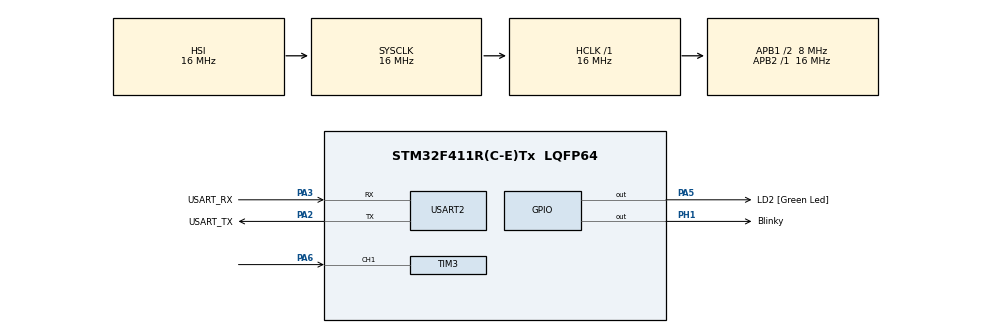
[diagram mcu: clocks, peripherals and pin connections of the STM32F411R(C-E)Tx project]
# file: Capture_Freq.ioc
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Mcu.Family=STM32F4
Mcu.Name=STM32F411R(C-E)Tx
Mcu.Package=LQFP64
NVIC.PriorityGroup=NVIC_PRIORITYGROUP_0
NVIC.TIM2_IRQn=true\:0\:0\:false\:false\:true\:true\:true\:true
NVIC.TIM3_IRQn=true\:0\:0\:false\:false\:true\:true\:true\:true
PA13.GPIO_Label=TMS
PA13.Mode=Serial_Wire
PA13.Signal=SYS_JTMS-SWDIO
PA14.GPIO_Label=TCK
PA14.Mode=Serial_Wire
PA14.Signal=SYS_JTCK-SWCLK
PA2.GPIO_Label=USART_TX
PA2.Mode=Asynchronous
PA2.Signal=USART2_TX
PA3.GPIO_Label=USART_RX
PA3.Mode=Asynchronous
PA3.Signal=USART2_RX
PA5.GPIO_Label=LD2 [Green Led]
PA5.Signal=GPIO_Output
PA6.Signal=S_TIM3_CH1
PB3.GPIO_Label=SWO
PB3.Signal=SYS_JTDO-SWO
PH1\ -\ OSC_OUT.GPIO_Label=Blinky
PH1\ -\ OSC_OUT.Signal=GPIO_Output
ProjectManager.HeapSize=0x200
ProjectManager.StackSize=0x400
ProjectManager.TargetToolchain=STM32CubeIDE
RCC.48MHZClocksFreq_Value=84000000
RCC.AHBFreq_Value=16000000
RCC.APB1CLKDivider=RCC_HCLK_DIV2
RCC.APB1Freq_Value=8000000
RCC.APB1TimFreq_Value=16000000
RCC.APB2Freq_Value=16000000
RCC.APB2TimFreq_Value=16000000
RCC.CortexFreq_Value=16000000
RCC.FLatency-AdvancedSettings=FLASH_LATENCY_0
RCC.HCLKFreq_Value=16000000
RCC.HSE_VALUE=8000000
RCC.HSI_VALUE=16000000
RCC.LSE_VALUE=32768
RCC.PLLN=336
RCC.PLLP=RCC_PLLP_DIV4
RCC.SYSCLKFreq_VALUE=16000000
RCC.VCOOutputFreq_Value=336000000
SH.S_TIM3_CH1.0=TIM3_CH1,Input_Capture1_from_TI1
TIM2.Period=250-1
TIM2.Prescaler=16000-1
TIM3.Channel-Input_Capture1_from_TI1=TIM_CHANNEL_1
TIM3.Period=65535
TIM3.Prescaler=0
USART2.VirtualMode=VM_ASYNC
VP_TIM2_VS_ClockSourceINT.Mode=Internal
VP_TIM3_VS_ClockSourceINT.Mode=Internal
board=NUCLEO-F411RE

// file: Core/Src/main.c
/* USER CODE BEGIN Header */
/**
  ******************************************************************************
  * @file           : main.c
  * @brief          : Main program body
  ******************************************************************************
  * @attention
  *
  * Copyright (c) 2025 STMicroelectronics.
  * All rights reserved.
  *
  * This software is licensed under terms that can be found in the LICENSE file
  * in the root directory of this software component.
  * If no LICENSE file comes with this software, it is provided AS-IS.
  *
  ******************************************************************************
  */
/* USER CODE END Header */
#include "main.h"
#include <stdio.h>
#include <string.h>

TIM_HandleTypeDef htim2;
TIM_HandleTypeDef htim3;

UART_HandleTypeDef huart2;

/* USER CODE BEGIN PV */
//Las variable tipo volatile son aquellas van a ser modificadas por una interrupción
volatile int32_t firstCapture = 0; 				// Variable para almacenar el primer valor capturado
volatile int32_t secondCapture = 0; 			// Variable para almacenar el segundo valor capturado
volatile int8_t flagCapture = 0; 				// Variable para indicar si se ha capturado un valor
volatile uint32_t elapsedTicks = 0;				// Variable para almacenar el tiempo transcurrido en ticks
volatile int32_t counterOverflow = 0;			// Variable para almacenar el tiempo transcurrido en milisegundos
volatile int8_t enableMsg = 0; 					// Variable para habilitar el envío de mensajes por UART
float frecuencia = 0; 							// Variable para almacenar la frecuencia calculada
uint8_t bufferMsg[64]; 							// Buffer para almacenar el mensaje a enviar por UART
/* USER CODE END PV */

void SystemClock_Config(void);
static void MX_GPIO_Init(void);
static void MX_USART2_UART_Init(void);
static void MX_TIM2_Init(void);
static void MX_TIM3_Init(void);

int main(void)
{

  /* MCU Configuration--------------------------------------------------------*/

  /* Reset of all peripherals, Initializes the Flash interface and the Systick. */
  HAL_Init();

  /* Configure the system clock */
  SystemClock_Config();

  /* Initialize all configured peripherals */
  MX_GPIO_Init();
  MX_USART2_UART_Init();
  MX_TIM2_Init();
  MX_TIM3_Init();
  /* USER CODE BEGIN 2 */
  HAL_TIM_Base_Start_IT(&htim2); 				// Iniciar el timer 2 en modo interrupción
  HAL_TIM_IC_Start_IT(&htim3, TIM_CHANNEL_1); 	// Iniciar el timer 3 en modo captura de entrada y en interrupción
  HAL_TIM_Base_Start_IT(&htim3); 					// Iniciar el timer 3 en modo base
  /* USER CODE END 2 */

  /* Infinite loop */
  while (1)
  {

    /* USER CODE BEGIN 3 */
	if(enableMsg == 4){
		frecuencia = (float) 16000000/ elapsedTicks; // Calcula la frecuencia en Hz
		sprintf((char *)bufferMsg, "Frecuencia: %.2f Hz\r\n", frecuencia); // Formatea el mensaje
		HAL_UART_Transmit(&huart2, bufferMsg, strlen((char *)bufferMsg), 1000); // Envía el mensaje por UART
		enableMsg = 0; // Reinicia el contador de mensajes
	}
  }
  /* USER CODE END 3 */
}

void SystemClock_Config(void)
{
  RCC_OscInitTypeDef RCC_OscInitStruct = {0};
  RCC_ClkInitTypeDef RCC_ClkInitStruct = {0};

  /** Configure the main internal regulator output voltage
  */
  __HAL_RCC_PWR_CLK_ENABLE();
  __HAL_PWR_VOLTAGESCALING_CONFIG(PWR_REGULATOR_VOLTAGE_SCALE1);

  /** Initializes the RCC Oscillators according to the specified parameters
  * in the RCC_OscInitTypeDef structure.
  */
  RCC_OscInitStruct.OscillatorType = RCC_OSCILLATORTYPE_HSI;
  RCC_OscInitStruct.HSIState = RCC_HSI_ON;
  RCC_OscInitStruct.HSICalibrationValue = RCC_HSICALIBRATION_DEFAULT;
  RCC_OscInitStruct.PLL.PLLState = RCC_PLL_NONE;
  if (HAL_RCC_OscConfig(&RCC_OscInitStruct) != HAL_OK)
  {
    Error_Handler();
  }

  /** Initializes the CPU, AHB and APB buses clocks
  */
  RCC_ClkInitStruct.ClockType = RCC_CLOCKTYPE_HCLK|RCC_CLOCKTYPE_SYSCLK
                              |RCC_CLOCKTYPE_PCLK1|RCC_CLOCKTYPE_PCLK2;
  RCC_ClkInitStruct.SYSCLKSource = RCC_SYSCLKSOURCE_HSI;
  RCC_ClkInitStruct.AHBCLKDivider = RCC_SYSCLK_DIV1;
  RCC_ClkInitStruct.APB1CLKDivider = RCC_HCLK_DIV2;
  RCC_ClkInitStruct.APB2CLKDivider = RCC_HCLK_DIV1;

  if (HAL_RCC_ClockConfig(&RCC_ClkInitStruct, FLASH_LATENCY_0) != HAL_OK)
  {
    Error_Handler();
  }
}

static void MX_TIM2_Init(void)
{

  TIM_ClockConfigTypeDef sClockSourceConfig = {0};
  TIM_MasterConfigTypeDef sMasterConfig = {0};

  htim2.Instance = TIM2;
  htim2.Init.Prescaler = 16000-1;
  htim2.Init.CounterMode = TIM_COUNTERMODE_UP;
  htim2.Init.Period = 250-1;
  htim2.Init.ClockDivision = TIM_CLOCKDIVISION_DIV1;
  htim2.Init.AutoReloadPreload = TIM_AUTORELOAD_PRELOAD_DISABLE;
  if (HAL_TIM_Base_Init(&htim2) != HAL_OK)
  {
    Error_Handler();
  }
  sClockSourceConfig.ClockSource = TIM_CLOCKSOURCE_INTERNAL;
  if (HAL_TIM_ConfigClockSource(&htim2, &sClockSourceConfig) != HAL_OK)
  {
    Error_Handler();
  }
  sMasterConfig.MasterOutputTrigger = TIM_TRGO_RESET;
  sMasterConfig.MasterSlaveMode = TIM_MASTERSLAVEMODE_DISABLE;
  if (HAL_TIMEx_MasterConfigSynchronization(&htim2, &sMasterConfig) != HAL_OK)
  {
    Error_Handler();
  }

}

static void MX_TIM3_Init(void)
{

  TIM_ClockConfigTypeDef sClockSourceConfig = {0};
  TIM_MasterConfigTypeDef sMasterConfig = {0};
  TIM_IC_InitTypeDef sConfigIC = {0};

  htim3.Instance = TIM3;
  htim3.Init.Prescaler = 0;
  htim3.Init.CounterMode = TIM_COUNTERMODE_UP;
  htim3.Init.Period = 65535;
  htim3.Init.ClockDivision = TIM_CLOCKDIVISION_DIV1;
  htim3.Init.AutoReloadPreload = TIM_AUTORELOAD_PRELOAD_DISABLE;
  if (HAL_TIM_Base_Init(&htim3) != HAL_OK)
  {
    Error_Handler();
  }
  sClockSourceConfig.ClockSource = TIM_CLOCKSOURCE_INTERNAL;
  if (HAL_TIM_ConfigClockSource(&htim3, &sClockSourceConfig) != HAL_OK)
  {
    Error_Handler();
  }
  if (HAL_TIM_IC_Init(&htim3) != HAL_OK)
  {
    Error_Handler();
  }
  sMasterConfig.MasterOutputTrigger = TIM_TRGO_RESET;
  sMasterConfig.MasterSlaveMode = TIM_MASTERSLAVEMODE_DISABLE;
  if (HAL_TIMEx_MasterConfigSynchronization(&htim3, &sMasterConfig) != HAL_OK)
  {
    Error_Handler();
  }
  sConfigIC.ICPolarity = TIM_INPUTCHANNELPOLARITY_RISING;
  sConfigIC.ICSelection = TIM_ICSELECTION_DIRECTTI;
  sConfigIC.ICPrescaler = TIM_ICPSC_DIV1;
  sConfigIC.ICFilter = 0;
  if (HAL_TIM_IC_ConfigChannel(&htim3, &sConfigIC, TIM_CHANNEL_1) != HAL_OK)
  {
    Error_Handler();
  }

}

static void MX_USART2_UART_Init(void)
{

  huart2.Instance = USART2;
  huart2.Init.BaudRate = 115200;
  huart2.Init.WordLength = UART_WORDLENGTH_8B;
  huart2.Init.StopBits = UART_STOPBITS_1;
  huart2.Init.Parity = UART_PARITY_NONE;
  huart2.Init.Mode = UART_MODE_TX_RX;
  huart2.Init.HwFlowCtl = UART_HWCONTROL_NONE;
  huart2.Init.OverSampling = UART_OVERSAMPLING_16;
  if (HAL_UART_Init(&huart2) != HAL_OK)
  {
    Error_Handler();
  }

}

static void MX_GPIO_Init(void)
{
  GPIO_InitTypeDef GPIO_InitStruct = {0};

  /* GPIO Ports Clock Enable */
  __HAL_RCC_GPIOH_CLK_ENABLE();
  __HAL_RCC_GPIOA_CLK_ENABLE();
  __HAL_RCC_GPIOB_CLK_ENABLE();

  /*Configure GPIO pin Output Level */
  HAL_GPIO_WritePin(Blinky_GPIO_Port, Blinky_Pin, GPIO_PIN_RESET);

  /*Configure GPIO pin Output Level */
  HAL_GPIO_WritePin(LD2_GPIO_Port, LD2_Pin, GPIO_PIN_RESET);

  /*Configure GPIO pin : Blinky_Pin */
  GPIO_InitStruct.Pin = Blinky_Pin;
  GPIO_InitStruct.Mode = GPIO_MODE_OUTPUT_PP;
  GPIO_InitStruct.Pull = GPIO_NOPULL;
  GPIO_InitStruct.Speed = GPIO_SPEED_FREQ_LOW;
  HAL_GPIO_Init(Blinky_GPIO_Port, &GPIO_InitStruct);

  /*Configure GPIO pin : LD2_Pin */
  GPIO_InitStruct.Pin = LD2_Pin;
  GPIO_InitStruct.Mode = GPIO_MODE_OUTPUT_PP;
  GPIO_InitStruct.Pull = GPIO_NOPULL;
  GPIO_InitStruct.Speed = GPIO_SPEED_FREQ_LOW;
  HAL_GPIO_Init(LD2_GPIO_Port, &GPIO_InitStruct);

}

/* USER CODE BEGIN 4 */
void HAL_TIM_PeriodElapsedCallback(TIM_HandleTypeDef *htim){
  if (htim->Instance == TIM2){
	enableMsg++; // Incrementa el contador de mensajes
	HAL_GPIO_TogglePin(Blinky_GPIO_Port, Blinky_Pin);// Toggle el Blinky LED
  }if (htim->Instance == TIM3){
	  counterOverflow++; // Incrementa el contador de overflow del timer 3
  }
}

void HAL_TIM_IC_CaptureCallback(TIM_HandleTypeDef *htim){
  if (htim->Instance == TIM3) {
	// Aquí se maneja la captura del timer 3
	  if (flagCapture == 1){
		  firstCapture = HAL_TIM_ReadCapturedValue(htim, TIM_CHANNEL_1); ; // Captura el primer valor
	  }if (flagCapture == 2){
		  secondCapture = HAL_TIM_ReadCapturedValue(htim, TIM_CHANNEL_1); // Captura el segundo valor
		  elapsedTicks = secondCapture - firstCapture + (counterOverflow * 65535); // Calcula el tiempo transcurrido en ticks
		  flagCapture = 0; // Reinicia el contador de capturas
		  __NOP();
	  }if (counterOverflow > 0){
		  counterOverflow = 0; // Reinicia el contador de overflow

	  }
	  flagCapture++; // Incrementa el contador de capturas
  }
}

/* USER CODE END 4 */

void Error_Handler(void)
{
  __disable_irq();
  while (1)
  {
  }
}
